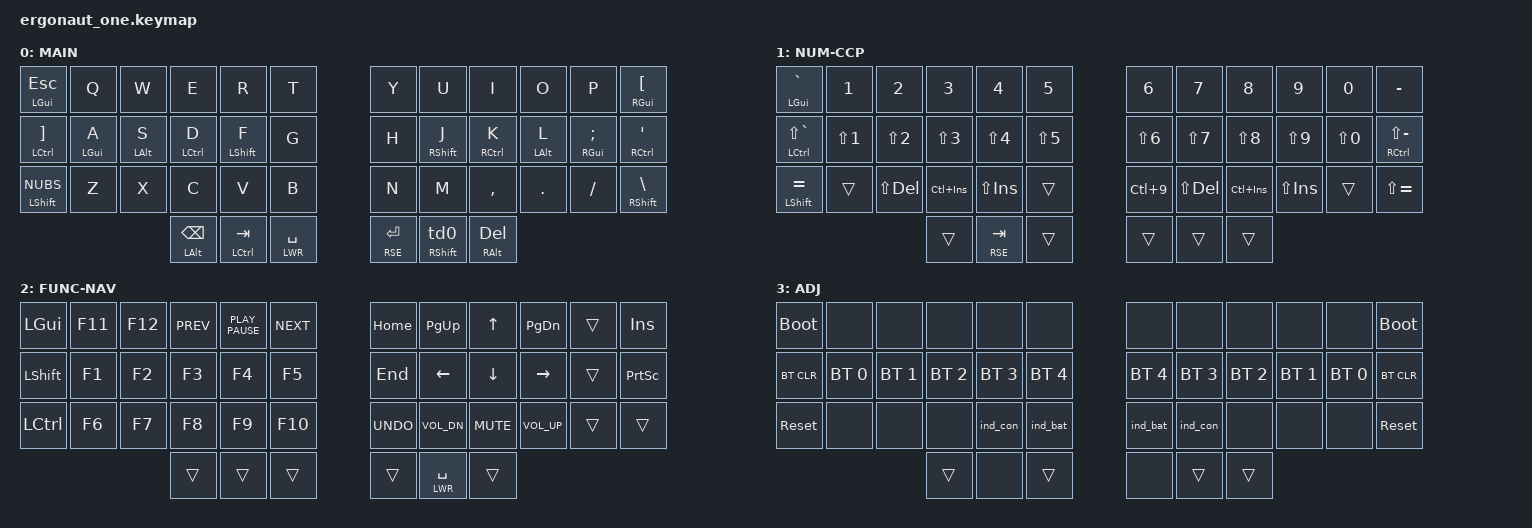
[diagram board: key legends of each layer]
// -*- c -*-

// Configuration du clavier Ergonaut One sous ZMK

#include <behaviors.dtsi>
#include <dt-bindings/zmk/bt.h>
#include <dt-bindings/zmk/keys.h>
#include <behaviors/rgbled_widget.dtsi> // pour le driver d'affichage via les LEDs

// Urob’s zmk-helpers macros :
#include "zmk-helpers/helper.h"
// Source desired key-position labels
#include "zmk-helpers/key-labels/42.h"
// Source unicode-chars for desired languages
// ?utile? #include "zmk-helpers/unicode-chars/french.dtsi"

#ifndef KEYS_L
// défini dans les dernières versions de 42.h, mais pas la version v0.3 !
#  define KEYS_L LT0 LT1 LT2 LT3 LT4 LT5 LM0 LM1 LM2 LM3 LM4 LM5 LB0 LB1 LB2 LB3 LB4 LB5  // Left-hand keys.
#  define KEYS_R RT0 RT1 RT2 RT3 RT4 RT5 RM0 RM1 RM2 RM3 RM4 RM5 RB0 RB1 RB2 RB3 RB4 RB5 // Right-hand keys.
#  define THUMBS LH2 LH1 LH0 RH0 RH1 RH2                                      // Thumb keys.
#endif // KEYS_L

// Définition des indices des 4 couches utilisées
#define DEF 0
#define LWR 1
#define RSE 2
#define ADJ 3

// Réglages lt = layer-tap
&lt {
    // Délai max durant lequel une touche tap-[layer]hold est considérée comme
    // une frappe [tap] si une autre touche est frappée durant ce délai
    // (permet d'éviter l'activation par erreur de maintien [hold] en cas de frappe rapide)
    quick-tap-ms = <200>;
};

// Réglages mt = mod-tap
&mt {
    // Sélectionne la touche 'maintenue' avant le tapping-term-ms
    // uniquement si une autre touche est appuyée puis relachée avant
    // de relacher celle-ci
    flavor = "balanced";
    // Délai max durant lequel une touche tap-[mod]hold est considérée comme
    // une frappe [tap] si une autre touche est frappée durant ce délai
    // (permet d'éviter l'activation par erreur de maintien [hold] en cas de frappe rapide)
    quick-tap-ms = <200>;
};

// Réglage du mode caps_word : maintien du SHIFT jusqu'à une touche non alphanumérique
&caps_word {
    // on configure quelles touches permettent de continuer en mode CAPS :
    // Par défaut, outre les touches alpha-numériques, UNDERSCORE, BACKSPACE et DELETE.
    // Mais il y a un loup :
    // certaines lettres BÉPO sont câblées sur des touches non
    // alpha-numériques en QWERTY, il faut donc reconfigurer la bonne liste !
    // Le défaut, c'est qu'on ne peut pas retirer de touches
    // alpha-numériques QWERTY qui ne sont pas des lettres/chiffres : ^ sur le Y, etc…
    continue-list = <UNDERSCORE BACKSPACE DELETE LEFT_BRACKET RIGHT_BRACKET SEMI SQT NUBS COMMA DOT FSLH BSLH>;
};

/ {
    behaviors {
        // --------------------
        // Tap-Dance pour Caps-Word/Caps-Lock :
        td0: tap_dance_caps {
            compatible = "zmk,behavior-tap-dance";
            display-name = "Tap-Dance-Caps";
            #binding-cells = <0>;
            tapping-term-ms = <400>;
            bindings = <&kp SPACE>, <&caps_word>, <&kp CAPSLOCK>, <&adr_mail_pro>;
        };
        // Mod-Tap avec tap-dance :
        mt_td0: mod_tap_dance_caps {
            compatible = "zmk,behavior-hold-tap";
            display-name = "Mod-Tap-Caps";
            #binding-cells = <2>;
            flavor = "hold-preferred";
            tapping-term-ms = <200>;
            bindings = <&kp>, <&td0>;
        };

    };
};

// --------------------
// Macro pour taper mon @mel professionnelle
ZMK_MACRO(adr_mail_pro,
    wait-ms  = <40>;
    tap-ms   = <40>;
    // touches voulues en bépo :       frederic.boiteux@odigo.com
    // touches équivalentes en qwerty: /lfifldhvqrdjfsc6rid,rvhr’
    bindings = <&kp SLASH &kp L &kp F &kp I &kp F &kp L &kp D &kp H &kp V &kp Q &kp R &kp D &kp J &kp F &kp S &kp C &kp N6 &kp R &kp I &kp D &kp COMMA &kp R &kp V &kp H &kp R &kp SQT>;
)

// Activation/configuration du Home-Row-Mod pour le clavier gauche
// (config time-less d’Urob !)
ZMK_HOLD_TAP(hml,
    flavor = "balanced";
    tapping-term-ms = <280>;
    quick-tap-ms = <175>;
    require-prior-idle-ms = <150>;
    bindings = <&kp>, <&kp>;
   // List of keys on the right side of the keyboard
    hold-trigger-key-positions = <KEYS_R THUMBS>;
    hold-trigger-on-release;
)
// Activation/configuration du Home-Row-Mod pour le clavier droit
ZMK_HOLD_TAP(hmr,
    flavor = "balanced";
    tapping-term-ms = <280>;
    quick-tap-ms = <175>;
    require-prior-idle-ms = <150>;
    bindings = <&kp>, <&kp>;
    // List of keys on the left side of the keyboard
    hold-trigger-key-positions = <KEYS_L THUMBS>;
    hold-trigger-on-release;
)


/ {
    conditional_layers {
        compatible = "zmk,conditional-layers";

        // Active la couche ADJust quand les deux couches LoWeR et RaiSE sont activés
        tri-layer {
            if-layers = <LWR RSE>;
            then-layer = <ADJ>;
        };
    };

    keymap {
        compatible = "zmk,keymap";

        default_layer {
            display-name = "MAIN";
            bindings = <
&mt LGUI  ESC   &kp Q        &kp W        &kp E         &kp R         &kp T         &kp Y  &kp U         &kp I         &kp O        &kp P           &mt RIGHT_GUI LBKT
&mt LCTRL RBKT  &hml LGUI A  &hml LALT S  &hml LCTRL D  &hml LSHFT F  &kp G         &kp H  &hmr RSHFT J  &hmr RCTRL K  &hmr LALT L  &hmr RGUI SEMI  &mt RCTRL SQT
&mt LSHFT NUBS  &kp Z        &kp X        &kp C         &kp V         &kp B         &kp N  &kp M         &kp COMMA     &kp DOT      &kp FSLH        &mt RSHIFT BSLH
                               &mt LALT BACKSPACE  &mt LCTRL TAB  &lt LWR SPACE     &lt RSE ENTER  &mt_td0 RSHIFT 0 &mt RALT DEL
            >;
        };

        lower_layer {
            display-name = "NUM-CCP";
            bindings = <
&mt LGUI GRAVE       &kp N1      &kp N2         &kp N3       &kp N4       &kp N5      &kp N6      &kp N7          &kp N8       &kp N9       &kp N0      &kp MINUS
&mt LCTRL LS(GRAVE)  &kp LS(N1)  &kp LS(N2)     &kp LS(N3)   &kp LS(N4)   &kp LS(N5)  &kp LS(N6)  &kp LS(N7)      &kp LS(N8)   &kp LS(N9)   &kp LS(N0)  &mt RCTRL LS(MINUS)
&mt LSHIFT EQUAL     &trans      &kp LS(DELETE) &kp LC(INS)  &kp LS(INS)  &trans      &kp LC(N9)  &kp LS(DELETE)  &kp LC(INS)  &kp LS(INS)  &trans      &kp LS(EQUAL)
                                       &trans            &lt RSE TAB       &trans     &trans            &trans          &trans
            >;
        };

        raise_layer {
            display-name = "FUNC-NAV";
            bindings = <
&kp LGUI          &kp F11  &kp F12  &kp K_PREV  &kp K_PLAY_PAUSE  &kp K_NEXT        &kp HOME    &kp PG_UP     &kp UP_ARROW  &kp PAGE_DOWN  &trans  &kp INS
&kp LSHFT         &kp F1   &kp F2   &kp F3      &kp F4            &kp F5            &kp END     &kp LEFT      &kp DOWN      &kp RIGHT      &trans  &kp PRINTSCREEN
&kp LEFT_CONTROL  &kp F6   &kp F7   &kp F8      &kp F9            &kp F10           &kp K_UNDO  &kp C_VOL_DN  &kp K_MUTE    &kp C_VOL_UP   &trans  &trans
                                    &trans      &trans            &trans            &trans      &lt LWR SPACE &trans
            >;
        };

        adjust_layer {
            display-name = "ADJ";
            bindings = <
&bootloader  &none           &none         &none         &none         &none         &none         &none         &none         &none         &none           &bootloader
&bt BT_CLR   &bt BT_SEL 0    &bt BT_SEL 1  &bt BT_SEL 2  &bt BT_SEL 3  &bt BT_SEL 4  &bt BT_SEL 4  &bt BT_SEL 3  &bt BT_SEL 2  &bt BT_SEL 1  &bt BT_SEL 0    &bt BT_CLR
&sys_reset   &none           &none         &none         &ind_con      &ind_bat      &ind_bat      &ind_con      &none         &none         &none           &sys_reset
                                           &trans        &none         &trans        &none         &trans        &trans
            >;
        };
    };
};
